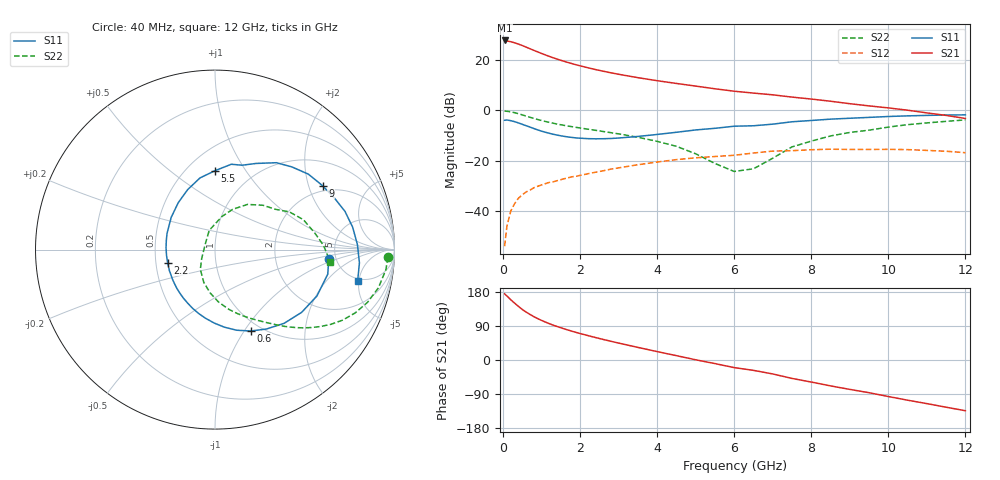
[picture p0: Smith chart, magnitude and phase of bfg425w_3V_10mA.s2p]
! Filename: 310bfg425.001
! BFG425W Field C1
! V1=8.398E-001V,V2=3.000E+000V, I1=1.270E-004A, I2=1.002E-002A
# GHz  S  MA  R 50
!  S11  S21  S12  S22
!Freq(GHz)  Mag  Ang  Mag  Ang  Mag  Ang  Mag  Ang
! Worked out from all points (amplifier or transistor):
!   44 points, 40 MHz to 12 GHz, reference 50 ohm
!   highest |S21| = 27.8 dB at 40 MHz (marker M1)
!   |S21| within 3 dB of that: start of sweep to 653 MHz
!   unconditionally stable (mu >= 1): 1.873 GHz to end of sweep
!   at 700 MHz: K = 0.53, MSG = 28.1 dB, |S12| = -31.7 dB
!   at 2.4 GHz: K = 1.11, MAG = 18.4 dB, |S12| = -24.6 dB
!   at 12 GHz: K = 1.40, MAG = 3.0 dB, |S12| = -16.8 dB
!   S11 on the Smith chart (normalised r, x): 40 MHz: 4.34, -0.79; 600 MHz: 0.89, -1.07; 2.2 GHz: 0.58, -0.09; 5.5 GHz: 0.68, +0.74; 9 GHz: 1.79, +2.48; 12 GHz: 4.63, -4.82
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0.04  0.636 -4.9  24.5 174.7  0.002 67.8  0.964 -2.5
0.2  0.624 -24.4  23.11 159.0  0.01 76.0  0.935 -13.2
0.3  0.596 -35.9  22 150.0  0.014 71.8  0.899 -19.1
0.4  0.563 -46.9  20.73 141.4  0.018 66.7  0.857 -24.3
0.5  0.527 -57.1  19.41 133.2  0.021 63.1  0.813 -28.9
0.6  0.495 -66.4  18.03 126.3  0.024 60.1  0.769 -32.7
0.8  0.435 -83.2  15.57 114.4  0.029 55.4  0.691 -38.9
0.9  0.409 -90.7  14.49 109.2  0.031 53.7  0.658 -41.5
1  0.386 -97.9  13.5 104.4  0.033 52.4  0.628 -43.8
1.2  0.35 -111.0  11.82 95.9  0.037 50.1  0.577 -47.8
1.4  0.323 -122.9  10.46 88.5  0.04 48.5  0.535 -51.3
1.6  0.303 -134.5  9.353 81.7  0.044 47.1  0.501 -54.5
2.2  0.274 -164.6  7.024 64.5  0.055 42.7  0.423 -63.8
3  0.282 161.4  5.21 44.7  0.072 35.4  0.341 -77.1
3.5  0.303 143.7  4.464 33.2  0.083 29.8  0.292 -86.3
4.5  0.367 114.6  3.425 11.5  0.105 16.6  0.193 -108.9
5.5  0.44 89.9  2.684 -9.4  0.121 2.0  0.088 -147.0
6.5  0.494 72.1  2.203 -27.4  0.142 -9.2  0.069 135.4
8.5  0.669 38.9  1.518 -68.4  0.169 -45.9  0.31 54.3
9  0.697 30.7  1.356 -77.6  0.167 -54.2  0.364 42.8
10.5  0.777 9.3  1.007 -106.1  0.166 -81.3  0.52 18.7
12  0.814 -12.4  0.69 -133.8  0.144 -111.7  0.646 -6.2
